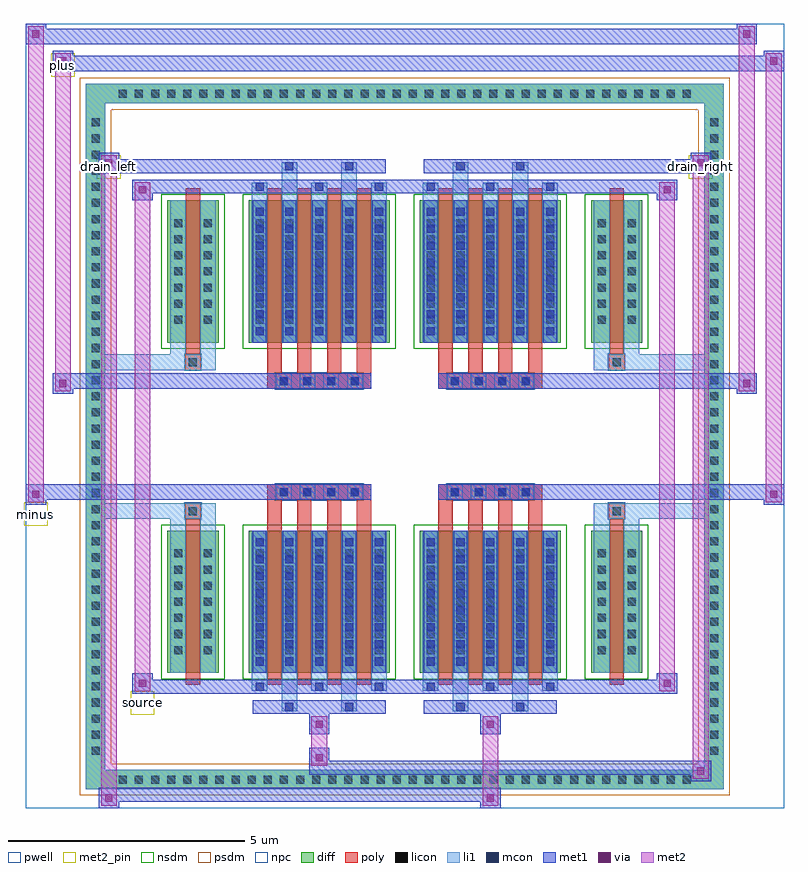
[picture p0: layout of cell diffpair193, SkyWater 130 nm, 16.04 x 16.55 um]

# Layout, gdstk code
import gdstk
lib = gdstk.Library(unit=1e-6, precision=5e-09)
def R(c, l, rs):  # rectangles x0, y0, x1, y1
    for r in rs: c.add(gdstk.rectangle(r[:2], r[2:], *l))
def A(c, l, x, y, w, h, nx, ny, dx, dy):  # array of equal rectangles
    R(c, l, [(x+i*dx, y+j*dy, x+i*dx+w, y+j*dy+h) for i in range(nx) for j in range(ny)])
def P(c, l, *ps):  # polygons
    for p in ps: c.add(gdstk.Polygon(p, *l))
pwell = (64, 44)
diff = (65, 20)
poly = (66, 20)
licon = (66, 44)
li1 = (67, 20)
mcon = (67, 44)
met1 = (68, 20)
via = (68, 44)
met2_pin = (69, 16)
met2 = (69, 20)
nsdm = (93, 44)
psdm = (94, 20)
npc = (95, 20)

diffpair193 = lib.new_cell('diffpair193')
R(diffpair193, pwell, [(-8,-7.84,8,8.71), (-5.32,-6.03,-0.01,-0.805), (0.01,-6.03,5.32,-0.805), (-5.32,0.805,-0.01,6.03), (0.01,0.805,5.32,6.03)])
A(diffpair193, diff, -6.155, -7.44, 0.41, 0.41, 36, 2, 0.34, 14.47)
A(diffpair193, diff, -6.73, -6.835, 0.41, 0.41, 1, 40, 0, 0.34)
A(diffpair193, diff, 6.32, -6.835, 0.41, 0.41, 1, 40, 0, 0.34)
R(diffpair193, diff, [(-6.155,-7.44,6.155,-7.03), (-6.73,-6.835,-6.32,6.835), (6.32,-6.835,6.73,6.835), (-5.01,-4.985,-3.93,-1.985), (-3.29,-4.985,-0.32,-1.985), (0.32,-4.985,3.29,-1.985), (3.93,-4.985,5.01,-1.985), (-5.01,1.985,-3.93,4.985), (-3.29,1.985,-0.32,4.985), (0.32,1.985,3.29,4.985), (3.93,1.985,5.01,4.985), (-6.155,7.03,6.155,7.44)])
P(diffpair193, diff, [(6.73,7.44),(-6.73,7.44),(-6.73,-7.03),(-6.32,-7.03),(-6.32,7.03),(6.32,7.03),(6.32,-7.03),(-6.32,-7.03),(-6.73,-7.03),(-6.73,-7.44),(6.73,-7.44)])
A(diffpair193, poly, -2.9, -5.235, 0.3, 3.5, 4, 2, 0.63, 6.97)
A(diffpair193, poly, 0.71, -5.235, 0.3, 3.5, 4, 2, 0.63, 6.97)
A(diffpair193, poly, -2.9, -1.735, 0.3, 0.4, 4, 2, 0.63, 3.07)
A(diffpair193, poly, 0.71, -1.735, 0.3, 0.4, 4, 2, 0.63, 3.07)
A(diffpair193, poly, -2.72, -1.335, 0.33, 0.33, 4, 2, 0.5, 2.34)
A(diffpair193, poly, 0.89, -1.335, 0.33, 0.33, 4, 2, 0.5, 2.34)
R(diffpair193, poly, [(-4.62,-5.235,-4.32,-1.735), (4.32,-5.235,4.62,-1.735), (-4.635,-1.735,-4.305,-1.405), (-4.635,-1.735,-4.305,-1.405), (4.305,-1.735,4.635,-1.405), (4.305,-1.735,4.635,-1.405), (-2.9,-1.335,-0.71,-1.005), (0.71,-1.335,2.9,-1.005), (-2.9,1.005,-0.71,1.335), (0.71,1.005,2.9,1.335), (-4.635,1.405,-4.305,1.735), (-4.635,1.405,-4.305,1.735), (4.305,1.405,4.635,1.735), (4.305,1.405,4.635,1.735), (-4.62,1.735,-4.32,5.235), (4.32,1.735,4.62,5.235)])
A(diffpair193, licon, -6.035, -7.32, 0.17, 0.17, 36, 2, 0.34, 14.47)
A(diffpair193, licon, -6.61, -6.715, 0.17, 0.17, 1, 40, 0, 0.34)
A(diffpair193, licon, 6.44, -6.715, 0.17, 0.17, 1, 40, 0, 0.34)
A(diffpair193, licon, -4.87, -4.59, 0.17, 0.17, 1, 7, 0, 0.34)
A(diffpair193, licon, -4.24, -4.59, 0.17, 0.17, 1, 7, 0, 0.34)
A(diffpair193, licon, -3.15, -4.59, 0.17, 0.17, 5, 7, 0.63, 0.34)
A(diffpair193, licon, 0.46, -4.59, 0.17, 0.17, 5, 7, 0.63, 0.34)
A(diffpair193, licon, 4.07, -4.59, 0.17, 0.17, 1, 7, 0, 0.34)
A(diffpair193, licon, 4.7, -4.59, 0.17, 0.17, 1, 7, 0, 0.34)
A(diffpair193, licon, -2.64, -1.255, 0.17, 0.17, 4, 2, 0.5, 2.34)
A(diffpair193, licon, 0.97, -1.255, 0.17, 0.17, 4, 2, 0.5, 2.34)
A(diffpair193, licon, -4.87, 2.38, 0.17, 0.17, 1, 7, 0, 0.34)
A(diffpair193, licon, -4.24, 2.38, 0.17, 0.17, 1, 7, 0, 0.34)
A(diffpair193, licon, -3.15, 2.38, 0.17, 0.17, 5, 7, 0.63, 0.34)
A(diffpair193, licon, 0.46, 2.38, 0.17, 0.17, 5, 7, 0.63, 0.34)
A(diffpair193, licon, 4.07, 2.38, 0.17, 0.17, 1, 7, 0, 0.34)
A(diffpair193, licon, 4.7, 2.38, 0.17, 0.17, 1, 7, 0, 0.34)
R(diffpair193, licon, [(-4.555,-1.655,-4.385,-1.485), (4.385,-1.655,4.555,-1.485), (-4.555,1.485,-4.385,1.655), (4.385,1.485,4.555,1.655)])
A(diffpair193, li1, -6.115, -7.4, 0.33, 0.33, 36, 2, 0.34, 14.47)
A(diffpair193, li1, -6.69, -6.795, 0.33, 0.33, 1, 40, 0, 0.34)
A(diffpair193, li1, 6.36, -6.795, 0.33, 0.33, 1, 40, 0, 0.34)
A(diffpair193, li1, -3.23, -5.36, 0.33, 0.375, 3, 2, 1.26, 10.345)
A(diffpair193, li1, -3.15, -5.36, 0.17, 0.17, 3, 2, 1.26, 10.55)
A(diffpair193, li1, 0.38, -5.36, 0.33, 0.375, 3, 2, 1.26, 10.345)
A(diffpair193, li1, 0.46, -5.36, 0.17, 0.17, 3, 2, 1.26, 10.55)
A(diffpair193, li1, -3.23, -4.985, 0.33, 3, 5, 2, 0.63, 6.97)
A(diffpair193, li1, 0.38, -4.985, 0.33, 3, 5, 2, 0.63, 6.97)
A(diffpair193, li1, -3.15, -4.83, 0.17, 0.17, 5, 8, 0.63, 0.36)
A(diffpair193, li1, -3.15, -4.83, 0.17, 2.69, 5, 2, 0.63, 6.97)
A(diffpair193, li1, 0.46, -4.83, 0.17, 0.17, 5, 8, 0.63, 0.36)
A(diffpair193, li1, 0.46, -4.83, 0.17, 2.69, 5, 2, 0.63, 6.97)
A(diffpair193, li1, -4.95, -4.67, 0.33, 0.33, 1, 7, 0, 0.34)
A(diffpair193, li1, -4.32, -4.67, 0.33, 0.33, 1, 7, 0, 0.34)
A(diffpair193, li1, -3.23, -4.67, 0.33, 0.33, 5, 7, 0.63, 0.34)
A(diffpair193, li1, 0.38, -4.67, 0.33, 0.33, 5, 7, 0.63, 0.34)
A(diffpair193, li1, 3.99, -4.67, 0.33, 0.33, 1, 7, 0, 0.34)
A(diffpair193, li1, 4.62, -4.67, 0.33, 0.33, 1, 7, 0, 0.34)
A(diffpair193, li1, -2.72, -1.335, 0.33, 0.33, 4, 2, 0.5, 2.34)
A(diffpair193, li1, 0.89, -1.335, 0.33, 0.33, 4, 2, 0.5, 2.34)
A(diffpair193, li1, -3.15, 2.14, 0.17, 0.17, 5, 8, 0.63, 0.36)
A(diffpair193, li1, 0.46, 2.14, 0.17, 0.17, 5, 8, 0.63, 0.36)
A(diffpair193, li1, -4.95, 2.3, 0.33, 0.33, 1, 7, 0, 0.34)
A(diffpair193, li1, -4.32, 2.3, 0.33, 0.33, 1, 7, 0, 0.34)
A(diffpair193, li1, -3.23, 2.3, 0.33, 0.33, 5, 7, 0.63, 0.34)
A(diffpair193, li1, 0.38, 2.3, 0.33, 0.33, 5, 7, 0.63, 0.34)
A(diffpair193, li1, 3.99, 2.3, 0.33, 0.33, 1, 7, 0, 0.34)
A(diffpair193, li1, 4.62, 2.3, 0.33, 0.33, 1, 7, 0, 0.34)
R(diffpair193, li1, [(-6.73,-7.44,-6.32,-7.03), (-6.73,-7.44,-6.32,-7.03), (-6.32,-7.44,6.32,-7.03), (6.32,-7.44,6.73,-7.03), (6.32,-7.44,6.73,-7.03), (-6.73,-7.03,-6.32,7.03), (6.32,-7.03,6.73,7.03), (-2.6,-5.79,-2.27,-4.985), (-2.52,-5.79,-2.35,-5.62), (-1.34,-5.79,-1.01,-4.985), (-1.26,-5.79,-1.09,-5.62), (1.01,-5.79,1.34,-4.985), (1.09,-5.79,1.26,-5.62), (2.27,-5.79,2.6,-4.985), (2.35,-5.79,2.52,-5.62), (-4.95,-4.985,-4.62,-1.985), (-4.32,-4.985,-3.99,-1.985), (3.99,-4.985,4.32,-1.985), (4.62,-4.985,4.95,-1.985), (-4.95,-1.985,-4.62,-1.405), (-4.32,-1.985,-3.99,-1.405), (3.99,-1.985,4.32,-1.405), (4.62,-1.985,4.95,-1.405), (-6.73,-1.735,-4.635,-1.405), (-4.95,-1.735,-4.635,-1.405), (-4.635,-1.735,-4.305,-1.405), (-4.305,-1.735,-3.99,-1.405), (3.99,-1.735,4.305,-1.405), (4.305,-1.735,4.635,-1.405), (4.305,-1.735,6.73,-1.405), (4.635,-1.735,4.95,-1.405), (-6.73,1.405,-4.635,1.735), (-4.95,1.405,-4.635,1.735), (-4.95,1.405,-4.62,1.985), (-4.635,1.405,-4.305,1.735), (-4.32,1.405,-3.99,1.985), (-4.305,1.405,-3.99,1.735), (3.99,1.405,4.305,1.735), (3.99,1.405,4.32,1.985), (4.305,1.405,4.635,1.735), (4.305,1.405,6.73,1.735), (4.62,1.405,4.95,1.985), (4.635,1.405,4.95,1.735), (-4.95,1.985,-4.62,4.985), (-4.32,1.985,-3.99,4.985), (3.99,1.985,4.32,4.985), (4.62,1.985,4.95,4.985), (-2.6,4.985,-2.27,5.79), (-1.34,4.985,-1.01,5.79), (1.01,4.985,1.34,5.79), (2.27,4.985,2.6,5.79), (-2.52,5.62,-2.35,5.79), (-1.26,5.62,-1.09,5.79), (1.09,5.62,1.26,5.79), (2.35,5.62,2.52,5.79), (-6.73,7.03,-6.32,7.44), (-6.73,7.03,-6.32,7.44), (-6.32,7.03,6.32,7.44), (6.32,7.03,6.73,7.44), (6.32,7.03,6.73,7.44)])
A(diffpair193, mcon, -3.15, -5.36, 0.17, 0.17, 3, 2, 1.26, 10.55)
A(diffpair193, mcon, 0.46, -5.36, 0.17, 0.17, 3, 2, 1.26, 10.55)
A(diffpair193, mcon, -3.15, -4.83, 0.17, 0.17, 5, 8, 0.63, 0.36)
A(diffpair193, mcon, 0.46, -4.83, 0.17, 0.17, 5, 8, 0.63, 0.36)
A(diffpair193, mcon, -2.64, -1.255, 0.17, 0.17, 4, 2, 0.5, 2.34)
A(diffpair193, mcon, 0.97, -1.255, 0.17, 0.17, 4, 2, 0.5, 2.34)
A(diffpair193, mcon, -3.15, 2.14, 0.17, 0.17, 5, 8, 0.63, 0.36)
A(diffpair193, mcon, 0.46, 2.14, 0.17, 0.17, 5, 8, 0.63, 0.36)
R(diffpair193, mcon, [(-2.52,-5.79,-2.35,-5.62), (-1.26,-5.79,-1.09,-5.62), (1.09,-5.79,1.26,-5.62), (2.35,-5.79,2.52,-5.62), (-2.52,5.62,-2.35,5.79), (-1.26,5.62,-1.09,5.79), (1.09,5.62,1.26,5.79), (2.35,5.62,2.52,5.79)])
A(diffpair193, met1, -3.21, -5.42, 0.29, 0.29, 3, 2, 1.26, 10.55)
A(diffpair193, met1, 0.4, -5.42, 0.29, 0.29, 3, 2, 1.26, 10.55)
A(diffpair193, met1, -3.21, -4.985, 0.29, 3, 5, 2, 0.63, 6.97)
A(diffpair193, met1, 0.4, -4.985, 0.29, 3, 5, 2, 0.63, 6.97)
A(diffpair193, met1, -3.21, -4.89, 0.29, 0.29, 5, 8, 0.63, 0.36)
A(diffpair193, met1, 0.4, -4.89, 0.29, 0.29, 5, 8, 0.63, 0.36)
A(diffpair193, met1, -2.7, -1.315, 0.29, 0.29, 4, 2, 0.5, 2.34)
A(diffpair193, met1, 0.91, -1.315, 0.29, 0.29, 4, 2, 0.5, 2.34)
A(diffpair193, met1, -3.21, 2.08, 0.29, 0.29, 5, 8, 0.63, 0.36)
A(diffpair193, met1, 0.4, 2.08, 0.29, 0.29, 5, 8, 0.63, 0.36)
R(diffpair193, met1, [(-6.46,-7.84,-6.03,-7.41), (1.59,-7.84,2.02,-7.41), (-6.46,-7.7,2.02,-7.41), (6.03,-7.27,6.46,-6.84), (-2.02,-7.13,6.46,-6.84), (-2.02,-6.99,-1.59,-6.56), (-2.02,-6.28,-1.59,-5.85), (1.59,-6.28,2.02,-5.85), (-3.21,-5.85,-0.4,-5.56), (-2.58,-5.85,-2.29,-5.56), (-1.32,-5.85,-1.03,-5.56), (0.4,-5.85,3.21,-5.56), (1.03,-5.85,1.32,-5.56), (2.29,-5.85,2.58,-5.56), (-5.75,-5.42,-5.32,-4.99), (-5.75,-5.42,-3.21,-5.13), (-3.21,-5.42,-0.4,-5.13), (-0.4,-5.42,0.4,-5.13), (0.4,-5.42,3.21,-5.13), (3.21,-5.42,5.75,-5.13), (5.32,-5.42,5.75,-4.99), (-8,-1.435,-7.57,-1.005), (7.57,-1.435,8,-1.005), (-8,-1.335,-0.71,-1.005), (-2.9,-1.335,-0.71,-1.005), (0.71,-1.335,2.9,-1.005), (0.71,-1.335,8,-1.005), (-7.43,0.905,-7,1.335), (7,0.905,7.43,1.335), (-7.43,1.005,-2.9,1.335), (-2.9,1.005,-0.71,1.335), (0.71,1.005,2.9,1.335), (2.9,1.005,7.43,1.335), (-5.75,4.99,-5.32,5.42), (5.32,4.99,5.75,5.42), (-5.75,5.13,-3.21,5.42), (-3.21,5.13,-0.4,5.42), (-0.4,5.13,0.4,5.42), (0.4,5.13,3.21,5.42), (3.21,5.13,5.75,5.42), (-6.46,5.56,-6.03,5.99), (-6.46,5.56,-3.21,5.85), (-3.21,5.56,-0.4,5.85), (-2.58,5.56,-2.29,5.85), (-1.32,5.56,-1.03,5.85), (0.4,5.56,3.21,5.85), (1.03,5.56,1.32,5.85), (2.29,5.56,2.58,5.85), (3.21,5.56,6.46,5.85), (6.03,5.56,6.46,5.99), (-7.43,7.71,-7,8.14), (-7.43,7.71,-5.32,8.04), (-5.32,7.71,5.32,8.04), (5.32,7.71,8,8.04), (7.57,7.71,8,8.14), (-8,8.28,-7.57,8.71), (-8,8.28,-5.32,8.61), (-5.32,8.28,5.32,8.61), (5.32,8.28,7.43,8.61), (7,8.28,7.43,8.71)])
R(diffpair193, via, [(-6.32,-7.7,-6.17,-7.55), (1.73,-7.7,1.88,-7.55), (6.17,-7.13,6.32,-6.98), (-1.88,-6.85,-1.73,-6.7), (-1.88,-6.14,-1.73,-5.99), (1.73,-6.14,1.88,-5.99), (-5.61,-5.28,-5.46,-5.13), (5.46,-5.28,5.61,-5.13), (-7.86,-1.295,-7.71,-1.145), (7.71,-1.295,7.86,-1.145), (-7.29,1.045,-7.14,1.195), (7.14,1.045,7.29,1.195), (-5.61,5.13,-5.46,5.28), (5.46,5.13,5.61,5.28), (-6.32,5.7,-6.17,5.85), (6.17,5.7,6.32,5.85), (-7.29,7.85,-7.14,8), (7.71,7.85,7.86,8), (-7.86,8.42,-7.71,8.57), (7.14,8.42,7.29,8.57)])
R(diffpair193, met2_pin, [(-5.785,-5.87,-5.285,-5.37), (-8.035,-1.885,-7.535,-1.385), (-6.495,5.44,-5.995,5.94), (5.995,5.44,6.495,5.94), (-7.465,7.59,-6.965,8.09)])
R(diffpair193, met2, [(-6.41,-7.79,-6.08,-7.46), (-6.41,-7.79,-6.08,5.94), (1.64,-7.79,1.97,-7.46), (1.64,-7.46,1.97,-6.23), (6.08,-7.22,6.41,-6.89), (6.08,-7.22,6.41,5.94), (-1.97,-6.94,-1.64,-6.61), (-1.97,-6.61,-1.64,-6.23), (-1.97,-6.23,-1.64,-5.9), (1.64,-6.23,1.97,-5.9), (-5.7,-5.37,-5.37,-5.04), (-5.7,-5.37,-5.37,5.37), (5.37,-5.37,5.7,-5.04), (5.37,-5.37,5.7,5.37), (-7.95,-1.385,-7.62,-1.055), (-7.95,-1.385,-7.62,8.66), (7.62,-1.385,7.95,-1.055), (7.62,-1.385,7.95,8.09), (-7.38,0.955,-7.05,1.285), (-7.38,0.955,-7.05,8.09), (7.05,0.955,7.38,1.285), (7.05,0.955,7.38,8.66), (-5.7,5.04,-5.37,5.37), (5.37,5.04,5.7,5.37), (-6.41,5.61,-6.08,5.94), (6.08,5.61,6.41,5.94), (-7.38,7.76,-7.05,8.09), (7.62,7.76,7.95,8.09), (-7.95,8.33,-7.62,8.66), (7.05,8.33,7.38,8.66)])
P(diffpair193, met2, [(7.95,-1.385),(7.95,-1.385),(7.95,-1.055),(7.95,-1.055)],
  [(7.95,7.76),(7.95,7.76),(7.95,8.09),(7.95,8.09)],
  [(-7.62,-1.385),(-7.62,-1.385),(-7.62,-1.055),(-7.62,-1.055)],
  [(-7.62,8.33),(-7.62,8.33),(-7.62,8.66),(-7.62,8.66)],
  [(7.38,0.955),(7.38,0.955),(7.38,1.285),(7.38,1.285)],
  [(7.38,8.33),(7.38,8.33),(7.38,8.66),(7.38,8.66)],
  [(-7.05,0.955),(-7.05,0.955),(-7.05,1.285),(-7.05,1.285)],
  [(-7.05,7.76),(-7.05,7.76),(-7.05,8.09),(-7.05,8.09)],
  [(-6.08,-7.79),(-6.08,-7.79),(-6.08,-7.46),(-6.08,-7.46)],
  [(-6.08,5.61),(-6.08,5.61),(-6.08,5.94),(-6.08,5.94)],
  [(6.41,-7.22),(6.41,-7.22),(6.41,-6.89),(6.41,-6.89)],
  [(6.41,5.61),(6.41,5.61),(6.41,5.94),(6.41,5.94)],
  [(-5.37,-5.37),(-5.37,-5.37),(-5.37,-5.04),(-5.37,-5.04)],
  [(-5.37,5.04),(-5.37,5.04),(-5.37,5.37),(-5.37,5.37)],
  [(5.7,-5.37),(5.7,-5.37),(5.7,-5.04),(5.7,-5.04)],
  [(5.7,5.04),(5.7,5.04),(5.7,5.37),(5.7,5.37)])
R(diffpair193, nsdm, [(-5.14,-5.115,-3.8,-1.855), (-3.42,-5.115,-0.19,-1.855), (0.19,-5.115,3.42,-1.855), (3.8,-5.115,5.14,-1.855), (-5.14,1.855,-3.8,5.115), (-3.42,1.855,-0.19,5.115), (0.19,1.855,3.42,5.115), (3.8,1.855,5.14,5.115)])
P(diffpair193, psdm, [(6.86,7.57),(-6.86,7.57),(-6.86,-6.9),(-6.19,-6.9),(-6.19,6.9),(6.19,6.9),(6.19,-6.9),(-6.19,-6.9),(-6.86,-6.9),(-6.86,-7.57),(6.86,-7.57)])
A(diffpair193, npc, -2.74, -1.355, 0.37, 0.37, 4, 2, 0.5, 2.34)
A(diffpair193, npc, 0.87, -1.355, 0.37, 0.37, 4, 2, 0.5, 2.34)
R(diffpair193, npc, [(-4.655,-1.755,-4.285,-1.385), (4.285,-1.755,4.655,-1.385), (-2.74,-1.355,-1.87,-0.985), (-2.74,-1.355,-1.87,-0.985), (-2.24,-1.355,-1.37,-0.985), (-2.24,-1.355,-1.37,-0.985), (-1.74,-1.355,-0.87,-0.985), (-1.74,-1.355,-0.87,-0.985), (0.87,-1.355,1.74,-0.985), (0.87,-1.355,1.74,-0.985), (1.37,-1.355,2.24,-0.985), (1.37,-1.355,2.24,-0.985), (1.87,-1.355,2.74,-0.985), (1.87,-1.355,2.74,-0.985), (-2.74,0.985,-1.87,1.355), (-2.74,0.985,-1.87,1.355), (-2.24,0.985,-1.37,1.355), (-2.24,0.985,-1.37,1.355), (-1.74,0.985,-0.87,1.355), (-1.74,0.985,-0.87,1.355), (0.87,0.985,1.74,1.355), (0.87,0.985,1.74,1.355), (1.37,0.985,2.24,1.355), (1.37,0.985,2.24,1.355), (1.87,0.985,2.74,1.355), (1.87,0.985,2.74,1.355), (-4.655,1.385,-4.285,1.755), (4.285,1.385,4.655,1.755)])
diffpair193.add(gdstk.Label('minus', (-7.785,-1.635), layer=69, texttype=5))
diffpair193.add(gdstk.Label('drain_right', (6.245,5.69), layer=69, texttype=5))
diffpair193.add(gdstk.Label('drain_left', (-6.245,5.69), layer=69, texttype=5))
diffpair193.add(gdstk.Label('source', (-5.535,-5.62), layer=69, texttype=5))
diffpair193.add(gdstk.Label('plus', (-7.215,7.84), layer=69, texttype=5))

lib.write_gds('diffpair193.gds')
